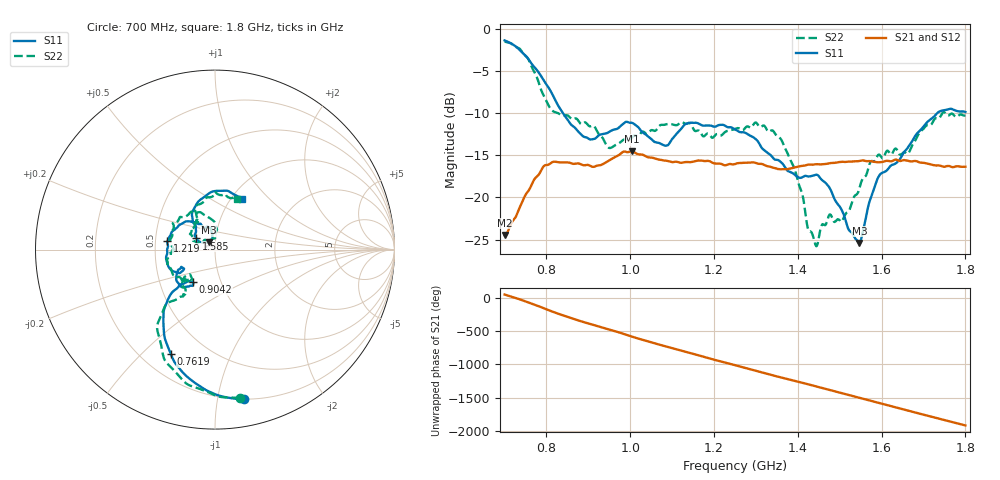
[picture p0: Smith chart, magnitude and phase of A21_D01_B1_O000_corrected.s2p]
! Created with skrf 1.9.0 (http://scikit-rf.org).
# Hz S RI R 50.0
!freq ReS11 ImS11 ReS21 ImS21 ReS12 ImS12 ReS22 ImS22
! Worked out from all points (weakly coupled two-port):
!   1601 points, 700 MHz to 1.8 GHz, reference 50 ohm
!   highest |S21| = -14.53 dB at 1.005 GHz (marker M1); lowest = -24.5 dB at 700.7 MHz (marker M2)
!   lowest |S11| = -25.4 dB at 1.547 GHz (marker M3), VSWR 1.11, Z = 46.5 + j3.87 ohm
!   |S11| at or under -10 dB: 839.1 MHz to 1.733 GHz (894.1 MHz wide, 69.5 % of centre)
!   |S22| runs from -25.8 to -1.5 dB; largest |S21 - S12| = 0.0037
!   S11 on the Smith chart (normalised r, x): 700 MHz: 0.20, -1.19; 761.9 MHz: 0.32, -0.62; 904.2 MHz: 0.73, -0.28; 1.219 GHz: 0.58, +0.06; 1.585 GHz: 0.81, +0.10; 1.8 GHz: 1.12, +0.71
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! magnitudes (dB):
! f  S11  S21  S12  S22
! 700 MHz  -1.4  -24.4  -24.2  -1.5
! 700.7 MHz  -1.4  -24.5  -24.2  -1.5
! 761.9 MHz  -4.0  -18.8  -18.7  -4.2
! 811.4 MHz  -7.5  -15.9  -15.8  -9.6
! 883.6 MHz  -12.6  -16.1  -16.0  -11.3
! 904.2 MHz  -13.1  -16.3  -16.2  -11.6
! 950.2 MHz  -12.2  -15.6  -15.6  -14.1
! 1.005 GHz  -11.2  -14.5  -14.7  -12.9
! 1.067 GHz  -13.5  -15.5  -15.4  -11.7
! 1.138 GHz  -11.2  -15.8  -15.8  -11.2
! 1.219 GHz  -11.4  -16.1  -16.1  -12.6
! 1.25 GHz  -11.9  -16.0  -16.0  -11.9
! 1.359 GHz  -15.8  -16.7  -16.7  -13.1
! 1.393 GHz  -17.3  -16.4  -16.4  -16.7
! 1.434 GHz  -17.4  -16.1  -16.1  -24.2
! 1.506 GHz  -21.6  -15.8  -15.8  -22.8
! 1.547 GHz  -25.4  -15.7  -15.7  -18.9
! 1.585 GHz  -18.4  -15.8  -15.8  -15.5
! 1.617 GHz  -16.5  -15.7  -15.7  -14.6
! 1.663 GHz  -14.1  -15.7  -15.7  -14.8
! 1.735 GHz  -9.9  -16.2  -16.3  -10.7
! 1.8 GHz  -9.9  -16.4  -16.4  -10.3
